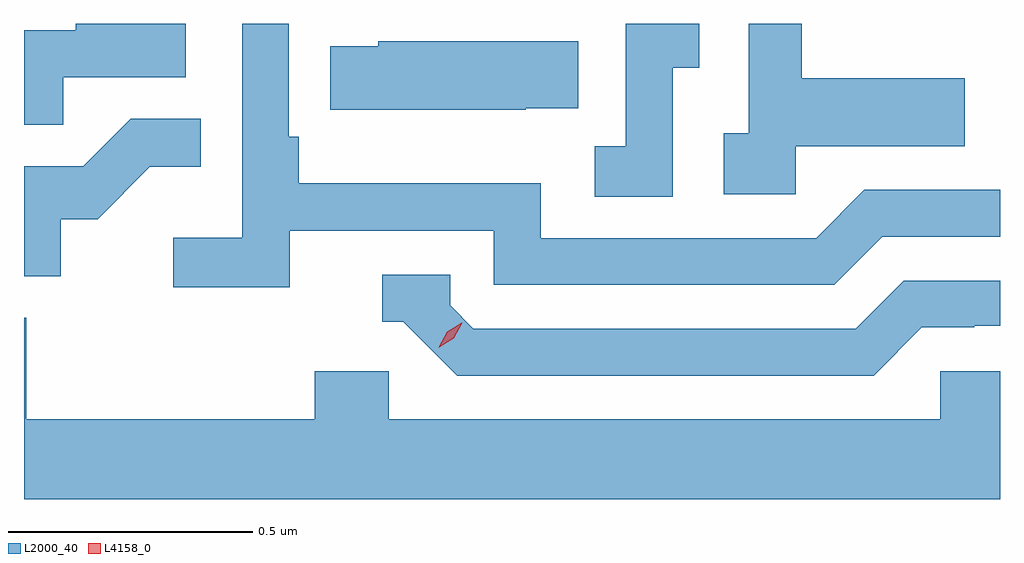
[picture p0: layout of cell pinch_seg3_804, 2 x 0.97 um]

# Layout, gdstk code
import gdstk
lib = gdstk.Library(unit=1e-6, precision=1e-09)
def P(c, l, *ps):  # polygons
    for p in ps: c.add(gdstk.Polygon(p, *l))
L2000_40 = (2000, 40)
L4158_0 = (4158, 0)

pinch_seg3_804 = lib.new_cell('pinch_seg3_804')
P(pinch_seg3_804, L2000_40, [(826.962,725.615),(827.309,725.615),(827.309,725.755),(826.975,725.755),(826.975,725.866),(826.866,725.866),(826.866,725.642),(826.815,725.642),(826.815,725.517),(826.962,725.517)],
  [(825.461,725.757),(825.712,725.757),(825.712,725.866),(825.487,725.866),(825.487,725.853),(825.381,725.853),(825.381,725.659),(825.461,725.659)],
  [(826.71,725.776),(826.765,725.776),(826.765,725.866),(826.614,725.866),(826.614,725.615),(826.551,725.615),(826.551,725.512),(826.71,725.512)],
  [(825.926,725.442),(826.344,725.442),(826.344,725.331),(827.041,725.331),(827.14,725.43),(827.381,725.43),(827.381,725.526),(827.103,725.526),(827.004,725.427),(826.44,725.427),(826.44,725.539),(825.944,725.539),(825.944,725.635),(825.924,725.635),(825.924,725.866),(825.828,725.866),(825.828,725.428),(825.687,725.428),(825.687,725.326),(825.926,725.326)],
  [(826.409,725.693),(826.517,725.693),(826.517,725.83),(826.107,725.83),(826.107,725.82),(826.009,725.82),(826.009,725.69),(826.409,725.69)],
  [(825.456,725.466),(825.532,725.466),(825.639,725.573),(825.743,725.573),(825.743,725.672),(825.6,725.672),(825.502,725.574),(825.381,725.574),(825.381,725.349),(825.456,725.349)],
  [(827.221,725.244),(827.328,725.244),(827.328,725.247),(827.381,725.247),(827.381,725.34),(827.184,725.34),(827.085,725.241),(826.302,725.241),(826.254,725.289),(826.254,725.352),(826.115,725.352),(826.115,725.256),(826.158,725.256),(826.269,725.145),(827.122,725.145)],
  [(827.381,725.154),(827.259,725.154),(827.259,725.056),(826.128,725.056),(826.128,725.154),(825.977,725.154),(825.977,725.056),(825.386,725.056),(825.386,725.264),(825.381,725.264),(825.381,724.892),(827.381,724.892)])
P(pinch_seg3_804, L4158_0, [(826.231,725.203),(826.231,725.203),(826.248,725.235),(826.278,725.254),(826.279,725.254),(826.279,725.254),(826.262,725.222),(826.232,725.203)])

lib.write_gds('pinch_seg3_804.gds')
